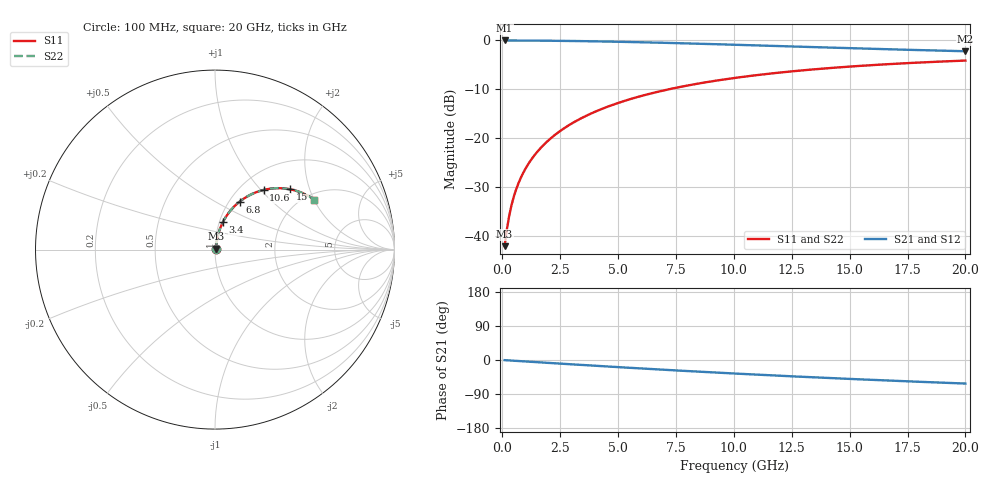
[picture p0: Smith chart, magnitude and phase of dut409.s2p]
! Touchstone file exported from HFSS 2026.1.0
!  File:  C:/ffzhzh/LocalFiles/Ansys_Project_Files/temp_train_BSMRDL_409_1783012494_55676.aedt
!  Generated:  01:16:38 AM Jul  3, 2026
!  Design:  BSMRDL
!  Project:  temp_train_BSMRDL_409_1783012494_55676
! Variables:
!  h_bsmrdl = 3.28um
!  h_ox = 20um
!  h_rdl = 5um
!  h_sub = 80um
!  h_tmrdl = 5um
!  h_tsv = 80um
!  h_via = 3um
!  l_bsmrdl = 911.09um
!  l_sub = 1311.09um
!  l_tmrdl = 200um
!  m_sub = 200um
!  pitch = 58.4um
!  r_tsv = 6um
!  s_tmrdl = 10um
!  w_bsmrdl = 16.29um
!  w_sub = 500um
!  w_tmrdl = 12um
!  x_tsv_center1 = 206um
!  x_tsv_center2 = 1133.38um
!  x_tsv_center3 = 1345.38um
!  x_tsv_center4 = 2272.76um
!  x_tsv_center5 = 2484.76um
!  x_tsv_center6 = 3412.14um
# GHz S MA R 50.000000
! Terminal data exported
! Port[1] = BSM_RDL1_1_T1
! Port[2] = BSM_RDL1_1_T2
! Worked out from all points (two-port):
!   200 points, 100 MHz to 20 GHz, reference 50 ohm
!   highest |S21| = -0.05 dB at 100 MHz (marker M1); lowest = -2.3 dB at 20 GHz (marker M2)
!   |S21| within 3 dB of the highest: start of sweep to end of sweep
!   lowest |S11| = -42.1 dB at 100 MHz (marker M3), VSWR 1.02, Z = 50.6 + j0.504 ohm
!   |S11| at or under -10 dB: start of sweep to 7.217 GHz
!   |S22| runs from -42.1 to -4.2 dB; largest |S21 - S12| = 4e-15
!   S11 on the Smith chart (normalised r, x): 100 MHz: 1.01, +0.01; 3.4 GHz: 1.04, +0.33; 6.8 GHz: 1.12, +0.66; 10.6 GHz: 1.27, +1.03; 15 GHz: 1.58, +1.50; 20 GHz: 2.23, +2.01
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0.1  0.00789 39.1  0.9939 -0.4  0.9939 -0.4  0.00789 39.1
! Gamma 0 0 0 0
! Port Impedance 50 0 50 0
0.2  0.01177 57.4  0.9937 -0.8  0.9937 -0.8  0.01177 57.4
0.3  0.01621 65.6  0.9935 -1.2  0.9935 -1.2  0.01621 65.6
0.4  0.02079 70.1  0.9933 -1.6  0.9933 -1.6  0.02079 70.1
0.5  0.02542 72.7  0.993 -2.0  0.993 -2.0  0.02542 72.7
0.6  0.03007 74.5  0.9927 -2.3  0.9927 -2.3  0.03007 74.5
0.8  0.03937 76.6  0.9922 -3.1  0.9922 -3.1  0.03937 76.6
1.1  0.05336 77.9  0.9913 -4.3  0.9913 -4.3  0.05336 77.9
1.5  0.07203 78.2  0.9899 -5.8  0.9899 -5.8  0.07203 78.2
2  0.09529 77.7  0.9877 -7.7  0.9877 -7.7  0.09529 77.7
2.6  0.1229 76.3  0.9844 -10.0  0.9844 -10.0  0.1229 76.3
3.4  0.1592 74.0  0.9788 -12.9  0.9788 -12.9  0.1592 74.0
3.5  0.1636 73.7  0.978 -13.3  0.978 -13.3  0.1636 73.7
5  0.2286 68.8  0.964 -18.8  0.964 -18.8  0.2286 68.8
6.8  0.3006 62.8  0.9429 -25.1  0.9429 -25.1  0.3006 62.8
8.3  0.3551 57.9  0.9231 -30.2  0.9231 -30.2  0.3551 57.9
10.1  0.4137 52.3  0.8977 -35.9  0.8977 -35.9  0.4137 52.4
10.6  0.4287 50.8  0.8905 -37.4  0.8905 -37.4  0.4287 50.9
13.4  0.5026 42.9  0.8508 -45.6  0.8508 -45.6  0.5026 42.9
15  0.5377 38.6  0.8292 -49.9  0.8292 -49.9  0.5377 38.6
16.7  0.5699 34.3  0.8076 -54.3  0.8076 -54.3  0.5699 34.4
20  0.6194 26.6  0.7712 -62.2  0.7712 -62.2  0.6194 26.6
